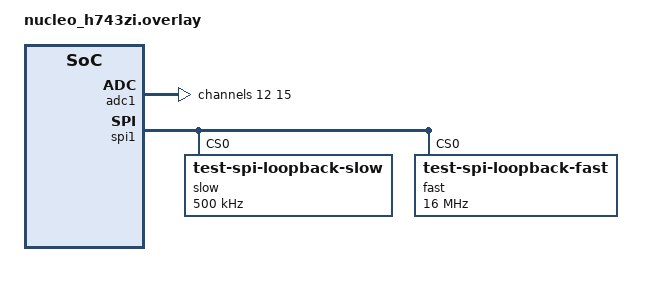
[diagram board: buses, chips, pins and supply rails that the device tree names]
/*
 * SPDX-License-Identifier: Apache-2.0
 *
 * Copyright (c) Benjamin Björnsson <benjamin.bjornsson@gmail.com>
 */

#include <zephyr/dt-bindings/memory-attr/memory-attr-arm.h>

&sram2 {
	zephyr,memory-attr = <DT_MEM_ARM(ATTR_MPU_RAM_NOCACHE)>;
};

&adc1 {
	#address-cells = <1>;
	#size-cells = <0>;

	channel@c {
		reg = <12>;
		zephyr,gain = "ADC_GAIN_1";
		zephyr,reference = "ADC_REF_INTERNAL";
		zephyr,acquisition-time = <ADC_ACQ_TIME_DEFAULT>;
		zephyr,resolution = <16>;
	};

	channel@f {
		reg = <15>;
		zephyr,gain = "ADC_GAIN_1";
		zephyr,reference = "ADC_REF_INTERNAL";
		zephyr,acquisition-time = <ADC_ACQ_TIME_DEFAULT>;
		zephyr,resolution = <16>;
	};

	/* Channels 0 and 1 of dmamux1 are used by spi1. */
	dmas = <&dmamux1 2 9 (STM32_DMA_PERIPH_RX | STM32_DMA_MEM_16BITS |
			      STM32_DMA_PERIPH_16BITS)>;
	dma-names = "dmamux";
};

&dma1 {
	status = "okay";
};

&dma2 {
	status = "okay";
};

&dmamux1 {
	status = "okay";
};

/* Set div-q to get test clk freq into acceptable SPI freq range */
&pll {
	/delete-property/ div-q;
	div-q = <8>;
};

&spi1 {
	dmas = <&dmamux1 0 38 (STM32_DMA_PERIPH_TX | STM32_DMA_PRIORITY_HIGH)>,
	       <&dmamux1 1 37 (STM32_DMA_PERIPH_RX | STM32_DMA_PRIORITY_HIGH)>;
	dma-names = "tx", "rx";

	slow@0 {
		compatible = "test-spi-loopback-slow";
		reg = <0>;
		spi-max-frequency = <500000>;
	};

	fast@0 {
		compatible = "test-spi-loopback-fast";
		reg = <0>;
		spi-max-frequency = <16000000>;
	};
};

tst_dma0: &dmamux1 {
	status = "okay";
};

/* The BDMA driver expects the SRAM4 region
 * to be non-cachable.
 */
&sram4 {
	zephyr,memory-attr = <DT_MEM_ARM(ATTR_MPU_RAM_NOCACHE)>;
};

&bdma1 {
	status = "okay";
};

tst_dma1: &dmamux2 {
	status = "okay";
};
